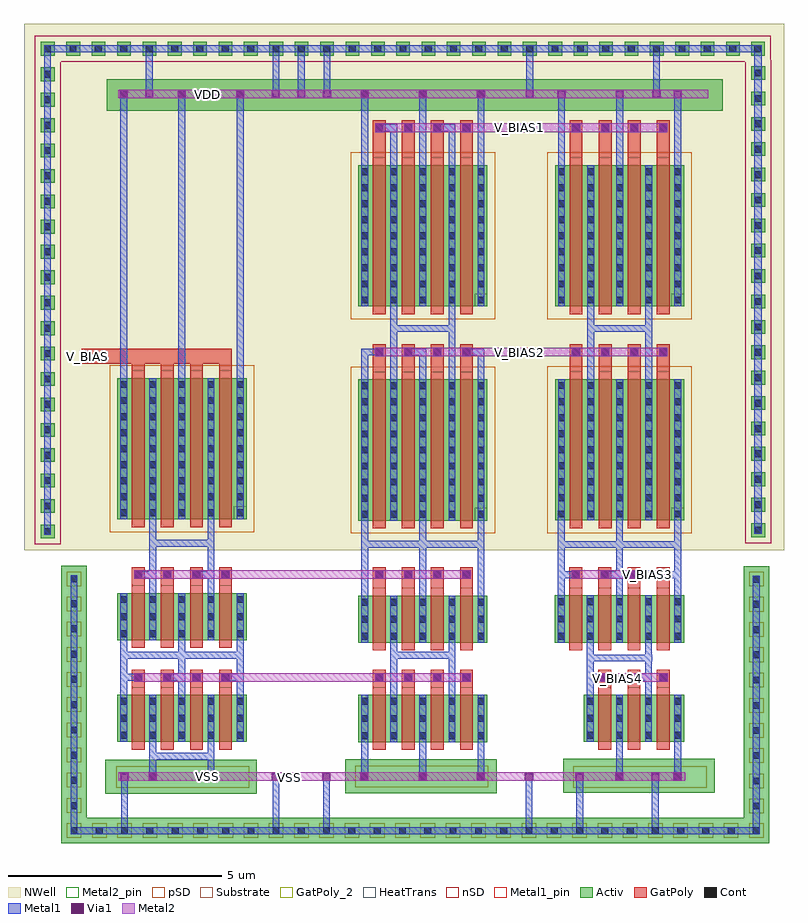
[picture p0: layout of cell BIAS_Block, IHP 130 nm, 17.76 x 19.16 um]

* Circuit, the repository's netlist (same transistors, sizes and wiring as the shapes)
** sch_path: /home/tundzi-lp1710/LAYOUT_ANALOG_FALL_DTVT/DO_AN_BAO_CAO/All_Block/LAYOUT/SCHEMATIC_FOR_LAYOUT/BIAS_Block/BIAS_Block.sch
.subckt BIAS_Block VDD VSS V_BIAS2 V_BIAS1 V_BIAS3 V_BIAS4 V_BIAS
*.PININFO VSS:B V_BIAS4:O V_BIAS2:O V_BIAS3:O VDD:B V_BIAS1:O V_BIAS:I
MM1 net1 net1 net2 VSS sg13_lv_nmos w=4.4u l=0.3u ng=4
MM9 V_BIAS3 V_BIAS2 net4 VDD sg13_lv_pmos w=13.2u l=0.3u ng=4
MM10 V_BIAS3 V_BIAS3 V_BIAS4 VSS sg13_lv_nmos w=4.4u l=0.3u ng=4
MM11 V_BIAS4 V_BIAS4 VSS VSS sg13_lv_nmos w=3.3u l=0.3u ng=3
MM8 net4 V_BIAS1 VDD VDD sg13_lv_pmos w=13.2u l=0.3u ng=4
MM6 V_BIAS2 net1 net3 VSS sg13_lv_nmos w=4.4u l=0.3u ng=4
MM2 net1 V_BIAS VDD VDD sg13_lv_pmos w=13.2u l=0.3u ng=4
MM7 net3 net2 VSS VSS sg13_lv_nmos w=4.4u l=0.3u ng=4
MM4 V_BIAS1 V_BIAS1 VDD VDD sg13_lv_pmos w=13.2u l=0.3u ng=4
MM5 V_BIAS2 V_BIAS2 V_BIAS1 VDD sg13_lv_pmos w=13.2u l=0.3u ng=4
MM3 net2 net2 VSS VSS sg13_lv_nmos w=4.4u l=0.3u ng=4
.ends

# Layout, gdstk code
import gdstk
lib = gdstk.Library(unit=1e-6, precision=5e-09)
def R(c, l, rs):  # rectangles x0, y0, x1, y1
    for r in rs: c.add(gdstk.rectangle(r[:2], r[2:], *l))
def A(c, l, x, y, w, h, nx, ny, dx, dy):  # array of equal rectangles
    R(c, l, [(x+i*dx, y+j*dy, x+i*dx+w, y+j*dy+h) for i in range(nx) for j in range(ny)])
Activ = (1, 0)
GatPoly = (5, 0)
GatPoly_2 = (5, 2)
Cont = (6, 0)
nSD = (7, 0)
Metal1 = (8, 0)
Metal1_pin = (8, 2)
Metal2 = (10, 0)
Metal2_pin = (10, 2)
pSD = (14, 0)
Via1 = (19, 0)
NWell = (31, 0)
Substrate = (40, 0)
HeatTrans = (51, 0)

pmos = lib.new_cell('pmos')
A(pmos, Activ, 0, 0, 0.3, 0.3, 5, 1, 0.68, 0)
R(pmos, Activ, [(0,0,3.02,3.3)])
A(pmos, GatPoly, 0.34, -0.18, 0.3, 3.66, 4, 1, 0.68, 0)
R(pmos, GatPoly, [(0.34,-0.18,0.64,3.48)])
A(pmos, Cont, 0.07, 0.07, 0.16, 0.16, 5, 9, 0.68, 0.375)
A(pmos, Metal1, 0.75, 0, 0.16, 3.3, 4, 1, 0.68, 0)
R(pmos, Metal1, [(0.07,0,0.23,3.3), (0.07,0,0.23,3.3), (0.75,0,0.91,3.3)])
R(pmos, pSD, [(-0.18,-0.3,3.2,3.6)])
R(pmos, NWell, [(-0.31,-0.31,3.33,3.61)])
R(pmos, Substrate, [(2.72,0,3.02,0.3)])
A(pmos, HeatTrans, 0.34, -0.18, 0.3, 3.66, 4, 1, 0.68, 0)
pmos.add(gdstk.Label('pmos', (0.49,1.65), layer=63, texttype=0))
pmos.add(gdstk.Label('pmos', (0.49,1.65), layer=51, texttype=0))
pmos.add(gdstk.Label('pmos', (1.17,1.65), layer=51, texttype=0))
pmos.add(gdstk.Label('pmos', (1.85,1.65), layer=51, texttype=0))
pmos.add(gdstk.Label('pmos', (2.53,1.65), layer=51, texttype=0))

nmos_1 = lib.new_cell('nmos$1')
A(nmos_1, Activ, 0, 0, 0.3, 0.3, 5, 1, 0.68, 0)
R(nmos_1, Activ, [(0,0,3.02,1.1)])
A(nmos_1, GatPoly, 0.34, -0.18, 0.3, 1.46, 4, 1, 0.68, 0)
R(nmos_1, GatPoly_2, [(0.34,-0.18,0.64,1.28)])
A(nmos_1, Cont, 0.07, 0.07, 0.16, 0.16, 5, 3, 0.68, 0.4)
A(nmos_1, Metal1, 0.07, 0, 0.16, 1.1, 5, 1, 0.68, 0)
R(nmos_1, Metal1_pin, [(0.07,0,0.23,1.1), (0.75,0,0.91,1.1)])
A(nmos_1, HeatTrans, 0.34, -0.18, 0.3, 1.46, 4, 1, 0.68, 0)
nmos_1.add(gdstk.Label('nmos', (0.49,0.55), layer=63, texttype=0))
nmos_1.add(gdstk.Label('nmos', (0.49,0.55), layer=51, texttype=0))
nmos_1.add(gdstk.Label('nmos', (1.17,0.55), layer=51, texttype=0))
nmos_1.add(gdstk.Label('nmos', (1.85,0.55), layer=51, texttype=0))
nmos_1.add(gdstk.Label('nmos', (2.53,0.55), layer=51, texttype=0))

nmos = lib.new_cell('nmos')
A(nmos, Activ, 0, 0, 0.3, 0.3, 4, 1, 0.68, 0)
R(nmos, Activ, [(0,0,2.34,1.1)])
A(nmos, GatPoly, 0.34, -0.18, 0.3, 1.46, 3, 1, 0.68, 0)
R(nmos, GatPoly_2, [(0.34,-0.18,0.64,1.28)])
A(nmos, Cont, 0.07, 0.07, 0.16, 0.16, 4, 3, 0.68, 0.4)
A(nmos, Metal1, 0.07, 0, 0.16, 1.1, 4, 1, 0.68, 0)
R(nmos, Metal1_pin, [(0.07,0,0.23,1.1), (0.75,0,0.91,1.1)])
A(nmos, HeatTrans, 0.34, -0.18, 0.3, 1.46, 3, 1, 0.68, 0)
nmos.add(gdstk.Label('nmos', (0.49,0.55), layer=63, texttype=0))
nmos.add(gdstk.Label('nmos', (0.49,0.55), layer=51, texttype=0))
nmos.add(gdstk.Label('nmos', (1.17,0.55), layer=51, texttype=0))
nmos.add(gdstk.Label('nmos', (1.85,0.55), layer=51, texttype=0))

bias_block = lib.new_cell('BIAS_Block')
A(bias_block, Activ, -1.63, -6.16, 0.6, 0.6, 4, 1, 0.59, 0)
A(bias_block, Activ, 0.735, -6.16, 0.6, 0.6, 4, 1, 0.59, 0)
A(bias_block, Activ, 3.09, -6.16, 0.6, 0.6, 4, 1, 0.59, 0)
A(bias_block, Activ, 5.455, -6.16, 0.6, 0.6, 4, 1, 0.59, 0)
A(bias_block, Activ, 7.82, -6.16, 0.6, 0.6, 4, 1, 0.59, 0)
A(bias_block, Activ, 10.185, -6.16, 0.6, 0.6, 8, 1, 0.59, 0)
A(bias_block, Activ, -1.63, -4.98, 0.6, 0.6, 1, 3, 0, 0.585)
A(bias_block, Activ, 14.315, -4.405, 0.6, 0.6, 1, 3, 0, 0.585)
A(bias_block, Activ, -1.63, -1.445, 0.6, 0.6, 1, 3, 0, 0.585)
R(bias_block, Activ, [(14.315,-5.585,14.915,-4.985), (-1.63,-5.575,-1.03,-4.975), (14.315,-5,14.915,-4.4), (-0.6,-4.995,2.94,-4.2), (-0.6,-4.995,2.94,-4.2), (5.005,-4.985,8.545,-4.19), (10.1,-4.98,13.64,-4.185), (-1.63,-3.215,-1.03,-2.615), (14.315,-2.64,14.915,-2.04), (-1.63,-2.625,-1.03,-2.025), (14.315,-2.05,14.915,-1.45), (-1.63,-2.04,-1.03,-1.44), (14.315,-1.465,14.915,-0.865), (14.315,-0.87,14.915,-0.27), (14.315,-0.285,14.915,0.315), (-2.105,0.97,-1.785,1.29), (-2.105,0.97,-1.785,1.29), (14.5,1,14.82,1.32), (14.5,1,14.82,1.32), (-2.105,1.565,-1.785,1.885), (-2.105,1.565,-1.785,1.885), (14.5,1.595,14.82,1.915), (14.5,1.595,14.82,1.915), (-2.105,2.16,-1.785,2.48), (-2.105,2.16,-1.785,2.48), (14.5,2.19,14.82,2.51), (14.5,2.19,14.82,2.51), (-2.105,2.755,-1.785,3.075), (-2.105,2.755,-1.785,3.075), (14.5,2.785,14.82,3.105), (14.5,2.785,14.82,3.105), (-2.105,3.345,-1.785,3.665), (-2.105,3.345,-1.785,3.665), (14.5,3.375,14.82,3.695), (14.5,3.375,14.82,3.695), (-2.105,3.94,-1.785,4.26), (-2.105,3.94,-1.785,4.26), (14.5,3.97,14.82,4.29), (14.5,3.97,14.82,4.29), (-2.105,4.535,-1.785,4.855), (-2.105,4.535,-1.785,4.855), (14.5,4.565,14.82,4.885), (14.5,4.565,14.82,4.885), (-2.105,5.13,-1.785,5.45), (-2.105,5.13,-1.785,5.45), (14.5,5.16,14.82,5.48), (14.5,5.16,14.82,5.48), (-2.105,5.72,-1.785,6.04), (-2.105,5.72,-1.785,6.04), (14.5,5.75,14.82,6.07), (14.5,5.75,14.82,6.07), (-2.105,6.315,-1.785,6.635), (-2.105,6.315,-1.785,6.635), (14.5,6.345,14.82,6.665), (14.5,6.345,14.82,6.665), (-2.105,6.91,-1.785,7.23), (-2.105,6.91,-1.785,7.23), (14.5,6.94,14.82,7.26), (14.5,6.94,14.82,7.26), (-2.105,7.505,-1.785,7.825), (-2.105,7.505,-1.785,7.825), (14.5,7.535,14.82,7.855), (14.5,7.535,14.82,7.855), (-2.105,8.09,-1.785,8.41), (-2.105,8.09,-1.785,8.41), (14.5,8.12,14.82,8.44), (14.5,8.12,14.82,8.44), (-2.105,8.685,-1.785,9.005), (-2.105,8.685,-1.785,9.005), (14.5,8.715,14.82,9.035), (14.5,8.715,14.82,9.035), (-2.105,9.28,-1.785,9.6), (-2.105,9.28,-1.785,9.6), (14.5,9.31,14.82,9.63), (14.5,9.31,14.82,9.63), (-2.105,9.875,-1.785,10.195), (-2.105,9.875,-1.785,10.195), (14.5,9.905,14.82,10.225), (14.5,9.905,14.82,10.225), (-2.105,10.465,-1.785,10.785), (-2.105,10.465,-1.785,10.785), (14.5,10.495,14.82,10.815), (14.5,10.495,14.82,10.815), (-0.565,10.965,13.825,11.695), (-2.105,11.06,-1.785,11.38), (-2.105,11.06,-1.785,11.38), (14.5,11.09,14.82,11.41), (14.5,11.09,14.82,11.41), (-2.105,11.655,-1.785,11.975), (-2.105,11.655,-1.785,11.975), (14.5,11.685,14.82,12.005), (14.5,11.685,14.82,12.005), (-2.105,12.25,-1.785,12.57), (-2.105,12.25,-1.785,12.57), (-1.51,12.25,-1.19,12.57), (-1.51,12.25,-1.19,12.57), (-0.92,12.25,-0.6,12.57), (-0.92,12.25,-0.6,12.57), (-0.325,12.25,-0.005,12.57), (-0.325,12.25,-0.005,12.57), (0.27,12.25,0.59,12.57), (0.27,12.25,0.59,12.57), (0.865,12.25,1.185,12.57), (0.865,12.25,1.185,12.57), (1.455,12.25,1.775,12.57), (1.455,12.25,1.775,12.57), (2.05,12.25,2.37,12.57), (2.05,12.25,2.37,12.57), (2.64,12.25,2.96,12.57), (2.64,12.25,2.96,12.57), (3.235,12.25,3.555,12.57), (3.235,12.25,3.555,12.57), (3.825,12.25,4.145,12.57), (3.825,12.25,4.145,12.57), (4.42,12.25,4.74,12.57), (4.42,12.25,4.74,12.57), (5.015,12.25,5.335,12.57), (5.015,12.25,5.335,12.57), (5.61,12.25,5.93,12.57), (5.61,12.25,5.93,12.57), (6.2,12.25,6.52,12.57), (6.2,12.25,6.52,12.57), (6.795,12.25,7.115,12.57), (6.795,12.25,7.115,12.57), (7.38,12.25,7.7,12.57), (7.38,12.25,7.7,12.57), (7.975,12.25,8.295,12.57), (7.975,12.25,8.295,12.57), (8.565,12.25,8.885,12.57), (8.565,12.25,8.885,12.57), (9.16,12.25,9.48,12.57), (9.16,12.25,9.48,12.57), (9.755,12.25,10.075,12.57), (9.755,12.25,10.075,12.57), (10.35,12.25,10.67,12.57), (10.35,12.25,10.67,12.57), (10.94,12.25,11.26,12.57), (10.94,12.25,11.26,12.57), (11.535,12.25,11.855,12.57), (11.535,12.25,11.855,12.57), (12.125,12.25,12.445,12.57), (12.125,12.25,12.445,12.57), (12.72,12.25,13.04,12.57), (12.72,12.25,13.04,12.57), (13.31,12.25,13.63,12.57), (13.31,12.25,13.63,12.57), (13.905,12.25,14.225,12.57), (13.905,12.25,14.225,12.57), (14.495,12.25,14.815,12.57), (14.495,12.25,14.815,12.57)])
A(bias_block, GatPoly, 0.02, 4.85, 0.3, 0.55, 4, 1, 0.68, 0)
R(bias_block, GatPoly, [(0.02,-2.625,0.32,-2.1), (0.02,-2.625,0.32,-2.1), (0.7,-2.625,1,-2.1), (0.7,-2.625,1,-2.1), (1.38,-2.625,1.68,-2.1), (1.38,-2.625,1.68,-2.1), (2.06,-2.625,2.36,-2.1), (2.06,-2.625,2.36,-2.1), (5.65,-2.625,5.95,-2.1), (5.65,-2.625,5.95,-2.1), (6.33,-2.625,6.63,-2.1), (6.33,-2.625,6.63,-2.1), (7.01,-2.625,7.31,-2.1), (7.01,-2.625,7.31,-2.1), (7.69,-2.625,7.99,-2.1), (7.69,-2.625,7.99,-2.1), (10.925,-2.625,11.225,-2.1), (10.925,-2.625,11.225,-2.1), (11.605,-2.625,11.905,-2.1), (11.605,-2.625,11.905,-2.1), (12.285,-2.625,12.585,-2.1), (12.285,-2.625,12.585,-2.1), (0.02,-0.225,0.32,0.3), (0.02,-0.225,0.32,0.3), (0.7,-0.225,1,0.3), (0.7,-0.225,1,0.3), (1.38,-0.225,1.68,0.3), (1.38,-0.225,1.68,0.3), (2.06,-0.225,2.36,0.3), (2.06,-0.225,2.36,0.3), (5.65,-0.225,5.95,0.3), (5.65,-0.225,5.95,0.3), (6.33,-0.225,6.63,0.3), (6.33,-0.225,6.63,0.3), (7.01,-0.225,7.31,0.3), (7.01,-0.225,7.31,0.3), (7.69,-0.225,7.99,0.3), (7.69,-0.225,7.99,0.3), (10.245,-0.225,10.545,0.3), (10.245,-0.225,10.545,0.3), (10.925,-0.225,11.225,0.3), (10.925,-0.225,11.225,0.3), (11.605,-0.225,11.905,0.3), (11.605,-0.225,11.905,0.3), (12.285,-0.225,12.585,0.3), (12.285,-0.225,12.585,0.3), (7.69,4.6,7.99,5.075), (7.69,4.6,7.99,5.075), (12.29,4.6,12.59,5.075), (12.29,4.6,12.59,5.075), (7.01,4.605,7.31,5.08), (7.01,4.605,7.31,5.08), (11.61,4.605,11.91,5.08), (11.61,4.605,11.91,5.08), (5.65,4.61,5.95,5.085), (5.65,4.61,5.95,5.085), (6.33,4.61,6.63,5.085), (6.33,4.61,6.63,5.085), (10.25,4.61,10.55,5.085), (10.25,4.61,10.55,5.085), (10.93,4.61,11.23,5.085), (10.93,4.61,11.23,5.085), (5.65,4.98,5.95,5.505), (5.65,4.98,5.95,5.505), (5.65,4.98,5.95,5.505), (5.65,4.98,5.95,5.505), (6.33,4.98,6.63,5.505), (6.33,4.98,6.63,5.505), (6.33,4.98,6.63,5.505), (6.33,4.98,6.63,5.505), (7.01,4.98,7.31,5.505), (7.01,4.98,7.31,5.505), (7.01,4.98,7.31,5.505), (7.01,4.98,7.31,5.505), (7.69,4.98,7.99,5.505), (7.69,4.98,7.99,5.505), (7.69,4.98,7.99,5.505), (7.69,4.98,7.99,5.505), (10.25,4.98,10.55,5.505), (10.25,4.98,10.55,5.505), (10.25,4.98,10.55,5.505), (10.25,4.98,10.55,5.505), (10.93,4.98,11.23,5.505), (10.93,4.98,11.23,5.505), (10.93,4.98,11.23,5.505), (10.93,4.98,11.23,5.505), (11.61,4.98,11.91,5.505), (11.61,4.98,11.91,5.505), (11.61,4.98,11.91,5.505), (11.61,4.98,11.91,5.505), (12.29,4.98,12.59,5.505), (12.29,4.98,12.59,5.505), (12.29,4.98,12.59,5.505), (12.29,4.98,12.59,5.505), (-1.15,5.055,-0.9,5.4), (-0.99,5.055,-0.35,5.4), (-0.39,5.055,2.36,5.4), (7.69,9.84,7.99,10.315), (7.69,9.84,7.99,10.315), (12.29,9.84,12.59,10.315), (12.29,9.84,12.59,10.315), (7.01,9.845,7.31,10.32), (7.01,9.845,7.31,10.32), (11.61,9.845,11.91,10.32), (11.61,9.845,11.91,10.32), (5.65,9.85,5.95,10.325), (5.65,9.85,5.95,10.325), (6.33,9.85,6.63,10.325), (6.33,9.85,6.63,10.325), (10.25,9.85,10.55,10.325), (10.25,9.85,10.55,10.325), (10.93,9.85,11.23,10.325), (10.93,9.85,11.23,10.325), (5.65,10.22,5.95,10.745), (5.65,10.22,5.95,10.745), (5.65,10.22,5.95,10.745), (5.65,10.22,5.95,10.745), (6.33,10.22,6.63,10.745), (6.33,10.22,6.63,10.745), (6.33,10.22,6.63,10.745), (6.33,10.22,6.63,10.745), (7.01,10.22,7.31,10.745), (7.01,10.22,7.31,10.745), (7.01,10.22,7.31,10.745), (7.01,10.22,7.31,10.745), (7.69,10.22,7.99,10.745), (7.69,10.22,7.99,10.745), (7.69,10.22,7.99,10.745), (7.69,10.22,7.99,10.745), (10.25,10.22,10.55,10.745), (10.25,10.22,10.55,10.745), (10.25,10.22,10.55,10.745), (10.25,10.22,10.55,10.745), (10.93,10.22,11.23,10.745), (10.93,10.22,11.23,10.745), (10.93,10.22,11.23,10.745), (10.93,10.22,11.23,10.745), (11.61,10.22,11.91,10.745), (11.61,10.22,11.91,10.745), (11.61,10.22,11.91,10.745), (11.61,10.22,11.91,10.745), (12.29,10.22,12.59,10.745), (12.29,10.22,12.59,10.745), (12.29,10.22,12.59,10.745), (12.29,10.22,12.59,10.745)])
A(bias_block, Cont, -1.41, -5.94, 0.16, 0.16, 4, 1, 0.59, 0)
A(bias_block, Cont, 0.955, -5.94, 0.16, 0.16, 4, 1, 0.59, 0)
A(bias_block, Cont, 3.31, -5.94, 0.16, 0.16, 4, 1, 0.59, 0)
A(bias_block, Cont, 5.675, -5.94, 0.16, 0.16, 4, 1, 0.59, 0)
A(bias_block, Cont, 8.04, -5.94, 0.16, 0.16, 4, 1, 0.59, 0)
A(bias_block, Cont, 10.405, -5.94, 0.16, 0.16, 8, 1, 0.59, 0)
A(bias_block, Cont, -1.41, -4.76, 0.16, 0.16, 1, 3, 0, 0.585)
A(bias_block, Cont, 5.375, -4.675, 0.16, 0.16, 3, 1, 1.36, 0)
A(bias_block, Cont, 14.535, -4.185, 0.16, 0.16, 1, 3, 0, 0.585)
A(bias_block, Cont, -1.41, -1.225, 0.16, 0.16, 1, 3, 0, 0.585)
R(bias_block, Cont, [(14.535,-5.365,14.695,-5.205), (-1.41,-5.355,-1.25,-5.195), (14.535,-4.78,14.695,-4.62), (0.43,-4.68,0.59,-4.52), (0.43,-4.68,0.59,-4.52), (1.79,-4.675,1.95,-4.515), (1.79,-4.675,1.95,-4.515), (11.33,-4.67,11.49,-4.51), (12.69,-4.67,12.85,-4.51), (-1.41,-2.995,-1.25,-2.835), (14.535,-2.42,14.695,-2.26), (-1.41,-2.405,-1.25,-2.245), (0.09,-2.36,0.25,-2.2), (0.09,-2.36,0.25,-2.2), (0.77,-2.36,0.93,-2.2), (0.77,-2.36,0.93,-2.2), (1.45,-2.36,1.61,-2.2), (1.45,-2.36,1.61,-2.2), (2.13,-2.36,2.29,-2.2), (2.13,-2.36,2.29,-2.2), (5.72,-2.36,5.88,-2.2), (5.72,-2.36,5.88,-2.2), (6.4,-2.36,6.56,-2.2), (6.4,-2.36,6.56,-2.2), (7.08,-2.36,7.24,-2.2), (7.08,-2.36,7.24,-2.2), (7.76,-2.36,7.92,-2.2), (7.76,-2.36,7.92,-2.2), (10.995,-2.36,11.155,-2.2), (10.995,-2.36,11.155,-2.2), (11.675,-2.36,11.835,-2.2), (11.675,-2.36,11.835,-2.2), (12.355,-2.36,12.515,-2.2), (12.355,-2.36,12.515,-2.2), (14.535,-1.83,14.695,-1.67), (-1.41,-1.82,-1.25,-1.66), (14.535,-1.245,14.695,-1.085), (14.535,-0.65,14.695,-0.49), (14.535,-0.065,14.695,0.095), (0.09,0.04,0.25,0.2), (0.09,0.04,0.25,0.2), (0.77,0.04,0.93,0.2), (0.77,0.04,0.93,0.2), (1.45,0.04,1.61,0.2), (1.45,0.04,1.61,0.2), (2.13,0.04,2.29,0.2), (2.13,0.04,2.29,0.2), (5.72,0.04,5.88,0.2), (5.72,0.04,5.88,0.2), (6.4,0.04,6.56,0.2), (6.4,0.04,6.56,0.2), (7.08,0.04,7.24,0.2), (7.08,0.04,7.24,0.2), (7.76,0.04,7.92,0.2), (7.76,0.04,7.92,0.2), (10.315,0.04,10.475,0.2), (10.315,0.04,10.475,0.2), (10.995,0.04,11.155,0.2), (10.995,0.04,11.155,0.2), (11.675,0.04,11.835,0.2), (11.675,0.04,11.835,0.2), (12.355,0.04,12.515,0.2), (12.355,0.04,12.515,0.2), (-2.03,1.05,-1.87,1.21), (-2.03,1.05,-1.87,1.21), (14.575,1.08,14.735,1.24), (14.575,1.08,14.735,1.24), (-2.03,1.645,-1.87,1.805), (-2.03,1.645,-1.87,1.805), (14.575,1.675,14.735,1.835), (14.575,1.675,14.735,1.835), (-2.03,2.24,-1.87,2.4), (-2.03,2.24,-1.87,2.4), (14.575,2.27,14.735,2.43), (14.575,2.27,14.735,2.43), (-2.03,2.835,-1.87,2.995), (-2.03,2.835,-1.87,2.995), (14.575,2.865,14.735,3.025), (14.575,2.865,14.735,3.025), (-2.03,3.425,-1.87,3.585), (-2.03,3.425,-1.87,3.585), (14.575,3.455,14.735,3.615), (14.575,3.455,14.735,3.615), (-2.03,4.02,-1.87,4.18), (-2.03,4.02,-1.87,4.18), (14.575,4.05,14.735,4.21), (14.575,4.05,14.735,4.21), (-2.03,4.615,-1.87,4.775), (-2.03,4.615,-1.87,4.775), (14.575,4.645,14.735,4.805), (14.575,4.645,14.735,4.805), (-1.08,5.15,-0.92,5.31), (-2.03,5.21,-1.87,5.37), (-2.03,5.21,-1.87,5.37), (14.575,5.24,14.735,5.4), (14.575,5.24,14.735,5.4), (5.72,5.245,5.88,5.405), (5.72,5.245,5.88,5.405), (5.72,5.245,5.88,5.405), (5.72,5.245,5.88,5.405), (6.4,5.245,6.56,5.405), (6.4,5.245,6.56,5.405), (6.4,5.245,6.56,5.405), (6.4,5.245,6.56,5.405), (7.08,5.245,7.24,5.405), (7.08,5.245,7.24,5.405), (7.08,5.245,7.24,5.405), (7.08,5.245,7.24,5.405), (7.76,5.245,7.92,5.405), (7.76,5.245,7.92,5.405), (7.76,5.245,7.92,5.405), (7.76,5.245,7.92,5.405), (10.32,5.245,10.48,5.405), (10.32,5.245,10.48,5.405), (10.32,5.245,10.48,5.405), (10.32,5.245,10.48,5.405), (11,5.245,11.16,5.405), (11,5.245,11.16,5.405), (11,5.245,11.16,5.405), (11,5.245,11.16,5.405), (11.68,5.245,11.84,5.405), (11.68,5.245,11.84,5.405), (11.68,5.245,11.84,5.405), (11.68,5.245,11.84,5.405), (12.36,5.245,12.52,5.405), (12.36,5.245,12.52,5.405), (12.36,5.245,12.52,5.405), (12.36,5.245,12.52,5.405), (-2.03,5.8,-1.87,5.96), (-2.03,5.8,-1.87,5.96), (14.575,5.83,14.735,5.99), (14.575,5.83,14.735,5.99), (-2.03,6.395,-1.87,6.555), (-2.03,6.395,-1.87,6.555), (14.575,6.425,14.735,6.585), (14.575,6.425,14.735,6.585), (-2.03,6.99,-1.87,7.15), (-2.03,6.99,-1.87,7.15), (14.575,7.02,14.735,7.18), (14.575,7.02,14.735,7.18), (-2.03,7.585,-1.87,7.745), (-2.03,7.585,-1.87,7.745), (14.575,7.615,14.735,7.775), (14.575,7.615,14.735,7.775), (-2.03,8.17,-1.87,8.33), (-2.03,8.17,-1.87,8.33), (14.575,8.2,14.735,8.36), (14.575,8.2,14.735,8.36), (-2.03,8.765,-1.87,8.925), (-2.03,8.765,-1.87,8.925), (14.575,8.795,14.735,8.955), (14.575,8.795,14.735,8.955), (-2.03,9.36,-1.87,9.52), (-2.03,9.36,-1.87,9.52), (14.575,9.39,14.735,9.55), (14.575,9.39,14.735,9.55), (-2.03,9.955,-1.87,10.115), (-2.03,9.955,-1.87,10.115), (14.575,9.985,14.735,10.145), (14.575,9.985,14.735,10.145), (5.72,10.485,5.88,10.645), (5.72,10.485,5.88,10.645), (5.72,10.485,5.88,10.645), (5.72,10.485,5.88,10.645), (6.4,10.485,6.56,10.645), (6.4,10.485,6.56,10.645), (6.4,10.485,6.56,10.645), (6.4,10.485,6.56,10.645), (7.08,10.485,7.24,10.645), (7.08,10.485,7.24,10.645), (7.08,10.485,7.24,10.645), (7.08,10.485,7.24,10.645), (7.76,10.485,7.92,10.645), (7.76,10.485,7.92,10.645), (7.76,10.485,7.92,10.645), (7.76,10.485,7.92,10.645), (10.32,10.485,10.48,10.645), (10.32,10.485,10.48,10.645), (10.32,10.485,10.48,10.645), (10.32,10.485,10.48,10.645), (11,10.485,11.16,10.645), (11,10.485,11.16,10.645), (11,10.485,11.16,10.645), (11,10.485,11.16,10.645), (11.68,10.485,11.84,10.645), (11.68,10.485,11.84,10.645), (11.68,10.485,11.84,10.645), (11.68,10.485,11.84,10.645), (12.36,10.485,12.52,10.645), (12.36,10.485,12.52,10.645), (12.36,10.485,12.52,10.645), (12.36,10.485,12.52,10.645), (-2.03,10.545,-1.87,10.705), (-2.03,10.545,-1.87,10.705), (14.575,10.575,14.735,10.735), (14.575,10.575,14.735,10.735), (-2.03,11.14,-1.87,11.3), (-2.03,11.14,-1.87,11.3), (14.575,11.17,14.735,11.33), (14.575,11.17,14.735,11.33), (5.38,11.27,5.54,11.43), (8.1,11.27,8.26,11.43), (-0.25,11.275,-0.09,11.435), (1.11,11.275,1.27,11.435), (2.475,11.275,2.635,11.435), (6.74,11.275,6.9,11.435), (-2.03,11.735,-1.87,11.895), (-2.03,11.735,-1.87,11.895), (14.575,11.765,14.735,11.925), (14.575,11.765,14.735,11.925), (-2.03,12.33,-1.87,12.49), (-2.03,12.33,-1.87,12.49), (-1.435,12.33,-1.275,12.49), (-1.435,12.33,-1.275,12.49), (-0.845,12.33,-0.685,12.49), (-0.845,12.33,-0.685,12.49), (-0.25,12.33,-0.09,12.49), (-0.25,12.33,-0.09,12.49), (0.345,12.33,0.505,12.49), (0.345,12.33,0.505,12.49), (0.94,12.33,1.1,12.49), (0.94,12.33,1.1,12.49), (1.53,12.33,1.69,12.49), (1.53,12.33,1.69,12.49), (2.125,12.33,2.285,12.49), (2.125,12.33,2.285,12.49), (2.715,12.33,2.875,12.49), (2.715,12.33,2.875,12.49), (3.31,12.33,3.47,12.49), (3.31,12.33,3.47,12.49), (3.9,12.33,4.06,12.49), (3.9,12.33,4.06,12.49), (4.495,12.33,4.655,12.49), (4.495,12.33,4.655,12.49), (5.09,12.33,5.25,12.49), (5.09,12.33,5.25,12.49), (5.685,12.33,5.845,12.49), (5.685,12.33,5.845,12.49), (6.275,12.33,6.435,12.49), (6.275,12.33,6.435,12.49), (6.87,12.33,7.03,12.49), (6.87,12.33,7.03,12.49), (7.455,12.33,7.615,12.49), (7.455,12.33,7.615,12.49), (8.05,12.33,8.21,12.49), (8.05,12.33,8.21,12.49), (8.64,12.33,8.8,12.49), (8.64,12.33,8.8,12.49), (9.235,12.33,9.395,12.49), (9.235,12.33,9.395,12.49), (9.83,12.33,9.99,12.49), (9.83,12.33,9.99,12.49), (10.425,12.33,10.585,12.49), (10.425,12.33,10.585,12.49), (11.015,12.33,11.175,12.49), (11.015,12.33,11.175,12.49), (11.61,12.33,11.77,12.49), (11.61,12.33,11.77,12.49), (12.2,12.33,12.36,12.49), (12.2,12.33,12.36,12.49), (12.795,12.33,12.955,12.49), (12.795,12.33,12.955,12.49), (13.385,12.33,13.545,12.49), (13.385,12.33,13.545,12.49), (13.98,12.33,14.14,12.49), (13.98,12.33,14.14,12.49), (14.57,12.33,14.73,12.49), (14.57,12.33,14.73,12.49)])
R(bias_block, nSD, [(-2.245,0.83,-1.645,1.43), (-2.245,0.83,-1.645,1.43), (14.36,0.86,14.96,1.46), (14.36,0.86,14.96,1.46), (-2.245,1.425,-1.645,2.025), (-2.245,1.425,-1.645,2.025), (14.36,1.455,14.96,2.055), (14.36,1.455,14.96,2.055), (-2.245,2.02,-1.645,2.62), (-2.245,2.02,-1.645,2.62), (14.36,2.05,14.96,2.65), (14.36,2.05,14.96,2.65), (-2.245,2.615,-1.645,3.215), (-2.245,2.615,-1.645,3.215), (14.36,2.645,14.96,3.245), (14.36,2.645,14.96,3.245), (-2.245,3.205,-1.645,3.805), (-2.245,3.205,-1.645,3.805), (14.36,3.235,14.96,3.835), (14.36,3.235,14.96,3.835), (-2.245,3.8,-1.645,4.4), (-2.245,3.8,-1.645,4.4), (14.36,3.83,14.96,4.43), (14.36,3.83,14.96,4.43), (-2.245,4.395,-1.645,4.995), (-2.245,4.395,-1.645,4.995), (14.36,4.425,14.96,5.025), (14.36,4.425,14.96,5.025), (-2.245,4.99,-1.645,5.59), (-2.245,4.99,-1.645,5.59), (14.36,5.02,14.96,5.62), (14.36,5.02,14.96,5.62), (-2.245,5.58,-1.645,6.18), (-2.245,5.58,-1.645,6.18), (14.36,5.61,14.96,6.21), (14.36,5.61,14.96,6.21), (-2.245,6.175,-1.645,6.775), (-2.245,6.175,-1.645,6.775), (14.36,6.205,14.96,6.805), (14.36,6.205,14.96,6.805), (-2.245,6.77,-1.645,7.37), (-2.245,6.77,-1.645,7.37), (14.36,6.8,14.96,7.4), (14.36,6.8,14.96,7.4), (-2.245,7.365,-1.645,7.965), (-2.245,7.365,-1.645,7.965), (14.36,7.395,14.96,7.995), (14.36,7.395,14.96,7.995), (-2.245,7.95,-1.645,8.55), (-2.245,7.95,-1.645,8.55), (14.36,7.98,14.96,8.58), (14.36,7.98,14.96,8.58), (-2.245,8.545,-1.645,9.145), (-2.245,8.545,-1.645,9.145), (14.36,8.575,14.96,9.175), (14.36,8.575,14.96,9.175), (-2.245,9.14,-1.645,9.74), (-2.245,9.14,-1.645,9.74), (14.36,9.17,14.96,9.77), (14.36,9.17,14.96,9.77), (-2.245,9.735,-1.645,10.335), (-2.245,9.735,-1.645,10.335), (14.36,9.765,14.96,10.365), (14.36,9.765,14.96,10.365), (-2.245,10.325,-1.645,10.925), (-2.245,10.325,-1.645,10.925), (14.36,10.355,14.96,10.955), (14.36,10.355,14.96,10.955), (-2.245,10.92,-1.645,11.52), (-2.245,10.92,-1.645,11.52), (14.36,10.95,14.96,11.55), (14.36,10.95,14.96,11.55), (-2.245,11.515,-1.645,12.115), (-2.245,11.515,-1.645,12.115), (14.36,11.545,14.96,12.145), (14.36,11.545,14.96,12.145), (-2.245,12.11,-1.645,12.71), (-2.245,12.11,-1.645,12.71), (-1.65,12.11,-1.05,12.71), (-1.65,12.11,-1.05,12.71), (-1.06,12.11,-0.46,12.71), (-1.06,12.11,-0.46,12.71), (-0.465,12.11,0.135,12.71), (-0.465,12.11,0.135,12.71), (0.13,12.11,0.73,12.71), (0.13,12.11,0.73,12.71), (0.725,12.11,1.325,12.71), (0.725,12.11,1.325,12.71), (1.315,12.11,1.915,12.71), (1.315,12.11,1.915,12.71), (1.91,12.11,2.51,12.71), (1.91,12.11,2.51,12.71), (2.5,12.11,3.1,12.71), (2.5,12.11,3.1,12.71), (3.095,12.11,3.695,12.71), (3.095,12.11,3.695,12.71), (3.685,12.11,4.285,12.71), (3.685,12.11,4.285,12.71), (4.28,12.11,4.88,12.71), (4.28,12.11,4.88,12.71), (4.875,12.11,5.475,12.71), (4.875,12.11,5.475,12.71), (5.47,12.11,6.07,12.71), (5.47,12.11,6.07,12.71), (6.06,12.11,6.66,12.71), (6.06,12.11,6.66,12.71), (6.655,12.11,7.255,12.71), (6.655,12.11,7.255,12.71), (7.24,12.11,7.84,12.71), (7.24,12.11,7.84,12.71), (7.835,12.11,8.435,12.71), (7.835,12.11,8.435,12.71), (8.425,12.11,9.025,12.71), (8.425,12.11,9.025,12.71), (9.02,12.11,9.62,12.71), (9.02,12.11,9.62,12.71), (9.615,12.11,10.215,12.71), (9.615,12.11,10.215,12.71), (10.21,12.11,10.81,12.71), (10.21,12.11,10.81,12.71), (10.8,12.11,11.4,12.71), (10.8,12.11,11.4,12.71), (11.395,12.11,11.995,12.71), (11.395,12.11,11.995,12.71), (11.985,12.11,12.585,12.71), (11.985,12.11,12.585,12.71), (12.58,12.11,13.18,12.71), (12.58,12.11,13.18,12.71), (13.17,12.11,13.77,12.71), (13.17,12.11,13.77,12.71), (13.765,12.11,14.365,12.71), (13.765,12.11,14.365,12.71), (14.355,12.11,14.955,12.71), (14.355,12.11,14.955,12.71)])
A(bias_block, Metal1, 5.38, -4.665, 0.16, 1.105, 3, 1, 1.36, 0)
A(bias_block, Metal1, -0.25, -2.915, 0.16, 1.735, 3, 1, 1.36, 0)
A(bias_block, Metal1, 5.38, -0.6, 0.16, 2.215, 3, 1, 1.36, 0)
A(bias_block, Metal1, 9.975, -0.595, 0.16, 2.215, 3, 1, 1.36, 0)
A(bias_block, Metal1, 5.38, 4.455, 0.16, 0.95, 3, 1, 1.36, 0)
A(bias_block, Metal1, -0.25, 4.485, 0.16, 6.95, 3, 1, 1.36, 0)
A(bias_block, Metal1, 5.38, 9.46, 0.16, 1.955, 3, 1, 1.36, 0)
A(bias_block, Metal1, 9.98, 9.46, 0.16, 1.955, 3, 1, 1.36, 0)
R(bias_block, Metal1, [(-1.41,-5.94,14.695,-5.78), (-1.41,-5.94,-1.25,0.105), (-0.23,-5.94,-0.07,-4.53), (3.31,-5.94,3.47,-4.53), (4.49,-5.94,4.65,-4.53), (9.22,-5.94,9.38,-4.53), (10.405,-5.94,10.565,-4.53), (12.175,-5.94,12.335,-4.53), (14.535,-5.94,14.695,0.095), (0.43,-4.66,0.59,-3.555), (11.335,-4.66,11.495,-3.555), (12.695,-4.66,12.855,-3.555), (1.79,-4.655,1.95,-3.555), (0.43,-4.205,1.95,-4.045), (6.06,-2.92,6.22,-1.24), (7.42,-2.92,7.58,-1.24), (10.655,-2.915,10.815,-1.235), (12.015,-2.915,12.175,-1.235), (-0.25,-2.36,0.25,-2.2), (0.09,-2.36,0.25,-2.2), (0.09,-2.36,0.25,-2.2), (0.77,-2.36,0.93,-2.2), (0.77,-2.36,0.93,-2.2), (0.77,-2.36,1.27,-2.2), (1.45,-2.36,1.61,-2.2), (1.45,-2.36,1.61,-2.2), (2.13,-2.36,2.29,-2.2), (2.13,-2.36,2.29,-2.2), (2.13,-2.36,2.63,-2.2), (5.72,-2.36,5.88,-2.2), (5.72,-2.36,5.88,-2.2), (6.4,-2.36,6.56,-2.2), (6.4,-2.36,6.56,-2.2), (7.08,-2.36,7.24,-2.2), (7.08,-2.36,7.24,-2.2), (7.76,-2.36,7.92,-2.2), (7.76,-2.36,7.92,-2.2), (10.655,-2.36,11.155,-2.2), (10.995,-2.36,11.155,-2.2), (10.995,-2.36,11.155,-2.2), (11.675,-2.36,11.835,-2.2), (11.675,-2.36,11.835,-2.2), (11.675,-2.36,12.175,-2.2), (12.355,-2.36,12.515,-2.2), (12.355,-2.36,12.515,-2.2), (10.655,-1.905,12.18,-1.745), (-0.25,-1.845,2.63,-1.685), (6.06,-1.845,7.58,-1.685), (0.43,-0.54,0.59,0.9), (1.79,-0.54,1.95,0.9), (0.09,0.04,0.25,0.2), (0.09,0.04,0.25,0.2), (0.09,0.04,0.59,0.2), (0.77,0.04,0.93,0.2), (0.77,0.04,0.93,0.2), (1.45,0.04,1.61,0.2), (1.45,0.04,1.61,0.2), (1.45,0.04,1.95,0.2), (2.13,0.04,2.29,0.2), (2.13,0.04,2.29,0.2), (5.72,0.04,5.88,0.2), (5.72,0.04,5.88,0.2), (6.4,0.04,6.56,0.2), (6.4,0.04,6.56,0.2), (7.08,0.04,7.24,0.2), (7.08,0.04,7.24,0.2), (7.76,0.04,7.92,0.2), (7.76,0.04,7.92,0.2), (9.975,0.04,10.475,0.2), (10.315,0.04,10.475,0.2), (10.315,0.04,10.475,0.2), (10.995,0.04,11.155,0.2), (10.995,0.04,11.155,0.2), (10.995,0.04,11.495,0.2), (11.675,0.04,11.835,0.2), (11.675,0.04,11.835,0.2), (12.355,0.04,12.515,0.2), (12.355,0.04,12.515,0.2), (12.355,0.04,12.855,0.2), (9.98,0.745,12.85,0.905), (5.38,0.75,8.25,0.91), (0.43,0.775,1.95,0.935), (0.43,0.8,0.59,1.645), (1.79,0.8,1.95,1.645), (-2.03,1.05,-1.87,12.49), (14.57,1.08,14.735,12.49), (6.06,4.455,6.22,6.62), (7.42,4.455,7.58,6.62), (10.66,4.455,10.82,6.62), (12.02,4.455,12.18,6.62), (-1.08,5.15,-0.92,5.31), (5.38,5.245,5.88,5.405), (5.72,5.245,5.88,5.405), (5.72,5.245,5.88,5.405), (5.72,5.245,5.88,5.405), (5.72,5.245,5.88,5.405), (6.4,5.245,6.56,5.405), (6.4,5.245,6.56,5.405), (6.4,5.245,6.56,5.405), (6.4,5.245,6.56,5.405), (6.4,5.245,6.9,5.405), (7.08,5.245,7.24,5.405), (7.08,5.245,7.24,5.405), (7.08,5.245,7.24,5.405), (7.08,5.245,7.24,5.405), (7.76,5.245,7.92,5.405), (7.76,5.245,7.92,5.405), (7.76,5.245,7.92,5.405), (7.76,5.245,7.92,5.405), (7.76,5.245,8.26,5.405), (10.32,5.245,10.48,5.405), (10.32,5.245,10.48,5.405), (10.32,5.245,10.48,5.405), (10.32,5.245,10.48,5.405), (11,5.245,11.16,5.405), (11,5.245,11.16,5.405), (11,5.245,11.16,5.405), (11,5.245,11.16,5.405), (11.68,5.245,11.84,5.405), (11.68,5.245,11.84,5.405), (11.68,5.245,11.84,5.405), (11.68,5.245,11.84,5.405), (12.36,5.245,12.52,5.405), (12.36,5.245,12.52,5.405), (12.36,5.245,12.52,5.405), (12.36,5.245,12.52,5.405), (6.06,5.795,7.58,5.955), (10.66,5.795,12.18,5.955), (6.06,9.46,6.22,10.645), (7.42,9.46,7.58,10.645), (5.72,10.485,5.88,10.645), (5.72,10.485,5.88,10.645), (5.72,10.485,5.88,10.645), (5.72,10.485,5.88,10.645), (5.72,10.485,6.22,10.645), (6.4,10.485,6.56,10.645), (6.4,10.485,6.56,10.645), (6.4,10.485,6.56,10.645), (6.4,10.485,6.56,10.645), (7.08,10.485,7.24,10.645), (7.08,10.485,7.24,10.645), (7.08,10.485,7.24,10.645), (7.08,10.485,7.24,10.645), (7.08,10.485,7.58,10.645), (7.76,10.485,7.92,10.645), (7.76,10.485,7.92,10.645), (7.76,10.485,7.92,10.645), (7.76,10.485,7.92,10.645), (10.32,10.485,10.48,10.645), (10.32,10.485,10.48,10.645), (10.32,10.485,10.48,10.645), (10.32,10.485,10.48,10.645), (11,10.485,11.16,10.645), (11,10.485,11.16,10.645), (11,10.485,11.16,10.645), (11,10.485,11.16,10.645), (11.68,10.485,11.84,10.645), (11.68,10.485,11.84,10.645), (11.68,10.485,11.84,10.645), (11.68,10.485,11.84,10.645), (12.36,10.485,12.52,10.645), (12.36,10.485,12.52,10.645), (12.36,10.485,12.52,10.645), (12.36,10.485,12.52,10.645), (12.2,11.275,12.36,12.485), (0.345,11.28,0.505,12.49), (3.31,11.28,3.47,12.49), (3.9,11.28,4.06,12.49), (4.5,11.28,4.66,12.49), (9.235,11.28,9.395,12.49), (-2.03,12.33,14.735,12.49)])
R(bias_block, Metal1_pin, [(-1.08,5.15,-0.92,5.31)])
R(bias_block, Metal2, [(-0.3,-4.695,2.715,-4.495), (-0.3,-4.695,2.715,-4.495), (2.63,-4.695,5.635,-4.495), (5.3,-4.695,8.315,-4.495), (8.285,-4.695,12.95,-4.495), (0.075,-2.38,2.305,-2.18), (2.27,-2.38,5.83,-2.18), (5.705,-2.38,7.935,-2.18), (10.975,-2.38,12.54,-2.18), (0.075,0.02,2.305,0.22), (2.285,0.02,5.8,0.22), (5.705,0.02,7.935,0.22), (10.3,0.02,12.53,0.22), (5.705,5.225,7.935,5.425), (5.705,5.225,7.935,5.425), (5.705,5.225,12.535,5.425), (7.875,5.225,10.515,5.425), (10.305,5.225,12.535,5.425), (10.305,5.225,12.535,5.425), (5.705,10.465,7.935,10.665), (5.705,10.465,7.935,10.665), (7.88,10.465,10.52,10.665), (7.88,10.465,10.52,10.665), (10.305,10.465,12.535,10.665), (10.305,10.465,12.535,10.665), (-0.3,11.255,2.715,11.455), (2.71,11.255,13.485,11.455)])
R(bias_block, Metal2_pin, [(-0.3,-4.695,2.715,-4.495), (-0.3,-4.695,2.715,-4.495), (-0.3,-4.695,8.315,-4.495), (8.285,-4.695,12.95,-4.495), (10.975,-2.38,12.54,-2.18), (10.3,0.02,12.53,0.22), (5.705,5.225,12.535,5.425), (5.705,5.225,12.535,5.425), (5.705,5.225,12.535,5.425), (5.705,10.465,12.535,10.665), (5.705,10.465,12.535,10.665), (-0.3,11.255,2.715,11.455), (2.71,11.255,13.485,11.455)])
A(bias_block, pSD, -1.5, -6.03, 0.34, 0.34, 4, 1, 0.59, 0)
A(bias_block, pSD, 0.865, -6.03, 0.34, 0.34, 4, 1, 0.59, 0)
A(bias_block, pSD, 3.22, -6.03, 0.34, 0.34, 4, 1, 0.59, 0)
A(bias_block, pSD, 5.585, -6.03, 0.34, 0.34, 4, 1, 0.59, 0)
A(bias_block, pSD, 7.95, -6.03, 0.34, 0.34, 4, 1, 0.59, 0)
A(bias_block, pSD, 10.315, -6.03, 0.34, 0.34, 8, 1, 0.59, 0)
A(bias_block, pSD, -1.5, -4.85, 0.34, 0.34, 1, 3, 0, 0.585)
A(bias_block, pSD, 14.445, -4.275, 0.34, 0.34, 1, 3, 0, 0.585)
A(bias_block, pSD, -1.5, -1.315, 0.34, 0.34, 1, 3, 0, 0.585)
R(bias_block, pSD, [(14.445,-5.455,14.785,-5.115), (-1.5,-5.445,-1.16,-5.105), (14.445,-4.87,14.785,-4.53), (-0.35,-4.855,2.765,-4.355), (-0.35,-4.855,2.765,-4.355), (10.335,-4.855,13.45,-4.355), (5.235,-4.845,8.35,-4.345), (-1.5,-3.085,-1.16,-2.745), (14.445,-2.51,14.785,-2.17), (-1.5,-2.495,-1.16,-2.155), (14.445,-1.92,14.785,-1.58), (-1.5,-1.91,-1.16,-1.57), (14.445,-1.335,14.785,-0.995), (14.445,-0.74,14.785,-0.4), (14.445,-0.155,14.785,0.185)])
A(bias_block, Via1, 5.36, -4.69, 0.19, 0.19, 3, 1, 1.36, 0)
A(bias_block, Via1, -0.265, 11.265, 0.19, 0.19, 3, 1, 1.36, 0)
A(bias_block, Via1, 5.365, 11.265, 0.19, 0.19, 3, 1, 1.36, 0)
A(bias_block, Via1, 9.965, 11.265, 0.19, 0.19, 3, 1, 1.36, 0)
R(bias_block, Via1, [(-0.245,-4.695,-0.055,-4.505), (0.415,-4.695,0.605,-4.505), (0.415,-4.695,0.605,-4.505), (1.775,-4.695,1.965,-4.505), (1.775,-4.695,1.965,-4.505), (3.295,-4.695,3.485,-4.505), (4.47,-4.695,4.66,-4.505), (9.205,-4.695,9.395,-4.505), (10.385,-4.695,10.575,-4.505), (12.16,-4.695,12.35,-4.505), (11.315,-4.685,11.505,-4.495), (12.675,-4.685,12.865,-4.495), (0.075,-2.375,0.265,-2.185), (0.075,-2.375,0.265,-2.185), (0.755,-2.375,0.945,-2.185), (0.755,-2.375,0.945,-2.185), (1.435,-2.375,1.625,-2.185), (1.435,-2.375,1.625,-2.185), (2.115,-2.375,2.305,-2.185), (2.115,-2.375,2.305,-2.185), (5.705,-2.375,5.895,-2.185), (5.705,-2.375,5.895,-2.185), (6.385,-2.375,6.575,-2.185), (6.385,-2.375,6.575,-2.185), (7.065,-2.375,7.255,-2.185), (7.065,-2.375,7.255,-2.185), (7.745,-2.375,7.935,-2.185), (7.745,-2.375,7.935,-2.185), (10.98,-2.375,11.17,-2.185), (10.98,-2.375,11.17,-2.185), (11.66,-2.375,11.85,-2.185), (11.66,-2.375,11.85,-2.185), (12.34,-2.375,12.53,-2.185), (12.34,-2.375,12.53,-2.185), (0.075,0.025,0.265,0.215), (0.075,0.025,0.265,0.215), (0.755,0.025,0.945,0.215), (0.755,0.025,0.945,0.215), (1.435,0.025,1.625,0.215), (1.435,0.025,1.625,0.215), (2.115,0.025,2.305,0.215), (2.115,0.025,2.305,0.215), (5.705,0.025,5.895,0.215), (5.705,0.025,5.895,0.215), (6.385,0.025,6.575,0.215), (6.385,0.025,6.575,0.215), (7.065,0.025,7.255,0.215), (7.065,0.025,7.255,0.215), (7.745,0.025,7.935,0.215), (7.745,0.025,7.935,0.215), (10.3,0.025,10.49,0.215), (10.3,0.025,10.49,0.215), (10.98,0.025,11.17,0.215), (10.98,0.025,11.17,0.215), (11.66,0.025,11.85,0.215), (11.66,0.025,11.85,0.215), (12.34,0.025,12.53,0.215), (12.34,0.025,12.53,0.215), (5.705,5.23,5.895,5.42), (5.705,5.23,5.895,5.42), (5.705,5.23,5.895,5.42), (5.705,5.23,5.895,5.42), (6.385,5.23,6.575,5.42), (6.385,5.23,6.575,5.42), (6.385,5.23,6.575,5.42), (6.385,5.23,6.575,5.42), (7.065,5.23,7.255,5.42), (7.065,5.23,7.255,5.42), (7.065,5.23,7.255,5.42), (7.065,5.23,7.255,5.42), (7.745,5.23,7.935,5.42), (7.745,5.23,7.935,5.42), (7.745,5.23,7.935,5.42), (7.745,5.23,7.935,5.42), (10.305,5.23,10.495,5.42), (10.305,5.23,10.495,5.42), (10.305,5.23,10.495,5.42), (10.305,5.23,10.495,5.42), (10.985,5.23,11.175,5.42), (10.985,5.23,11.175,5.42), (10.985,5.23,11.175,5.42), (10.985,5.23,11.175,5.42), (11.665,5.23,11.855,5.42), (11.665,5.23,11.855,5.42), (11.665,5.23,11.855,5.42), (11.665,5.23,11.855,5.42), (12.345,5.23,12.535,5.42), (12.345,5.23,12.535,5.42), (12.345,5.23,12.535,5.42), (12.345,5.23,12.535,5.42), (5.705,10.47,5.895,10.66), (5.705,10.47,5.895,10.66), (5.705,10.47,5.895,10.66), (5.705,10.47,5.895,10.66), (6.385,10.47,6.575,10.66), (6.385,10.47,6.575,10.66), (6.385,10.47,6.575,10.66), (6.385,10.47,6.575,10.66), (7.065,10.47,7.255,10.66), (7.065,10.47,7.255,10.66), (7.065,10.47,7.255,10.66), (7.065,10.47,7.255,10.66), (7.745,10.47,7.935,10.66), (7.745,10.47,7.935,10.66), (7.745,10.47,7.935,10.66), (7.745,10.47,7.935,10.66), (10.305,10.47,10.495,10.66), (10.305,10.47,10.495,10.66), (10.305,10.47,10.495,10.66), (10.305,10.47,10.495,10.66), (10.985,10.47,11.175,10.66), (10.985,10.47,11.175,10.66), (10.985,10.47,11.175,10.66), (10.985,10.47,11.175,10.66), (11.665,10.47,11.855,10.66), (11.665,10.47,11.855,10.66), (11.665,10.47,11.855,10.66), (11.665,10.47,11.855,10.66), (12.345,10.47,12.535,10.66), (12.345,10.47,12.535,10.66), (12.345,10.47,12.535,10.66), (12.345,10.47,12.535,10.66), (0.33,11.255,0.52,11.445), (3.29,11.255,3.48,11.445), (3.885,11.255,4.075,11.445), (4.485,11.255,4.675,11.445), (9.22,11.255,9.41,11.445), (12.185,11.26,12.375,11.45), (2.455,11.265,2.645,11.455)])
R(bias_block, NWell, [(-2.5,0.695,15.26,13)])
bias_block.add(gdstk.Reference(pmos, (-0.32,1.415)))
bias_block.add(gdstk.Reference(pmos, (5.31,6.39)))
bias_block.add(gdstk.Reference(pmos, (9.91,6.39)))
bias_block.add(gdstk.Reference(pmos, (5.31,1.385)))
bias_block.add(gdstk.Reference(pmos, (9.91,1.39)))
bias_block.add(gdstk.Reference(nmos_1, (-0.32,-1.41)))
bias_block.add(gdstk.Reference(nmos_1, (-0.32,-3.785)))
bias_block.add(gdstk.Reference(nmos_1, (5.31,-1.47)))
bias_block.add(gdstk.Reference(nmos_1, (5.31,-3.79)))
bias_block.add(gdstk.Reference(nmos_1, (9.905,-1.465)))
bias_block.add(gdstk.Reference(nmos, (10.585,-3.785)))
bias_block.add(gdstk.Label('VDD', (1.79,11.345), layer=10, texttype=25))
bias_block.add(gdstk.Label('VSS', (1.79,-4.605), layer=10, texttype=25))
bias_block.add(gdstk.Label('V_BIAS2', (9.08,5.31), layer=10, texttype=25))
bias_block.add(gdstk.Label('V_BIAS1', (9.07,10.56), layer=10, texttype=25))
bias_block.add(gdstk.Label('V_BIAS1', (9.07,10.56), layer=10, texttype=25))
bias_block.add(gdstk.Label('VSS', (3.7,-4.63), layer=10, texttype=25))
bias_block.add(gdstk.Label('V_BIAS3', (12.07,0.115), layer=10, texttype=25))
bias_block.add(gdstk.Label('V_BIAS4', (11.375,-2.3), layer=10, texttype=25))
bias_block.add(gdstk.Label('V_BIAS', (-1.005,5.225), layer=8, texttype=25))

lib.write_gds('BIAS_Block.gds')
